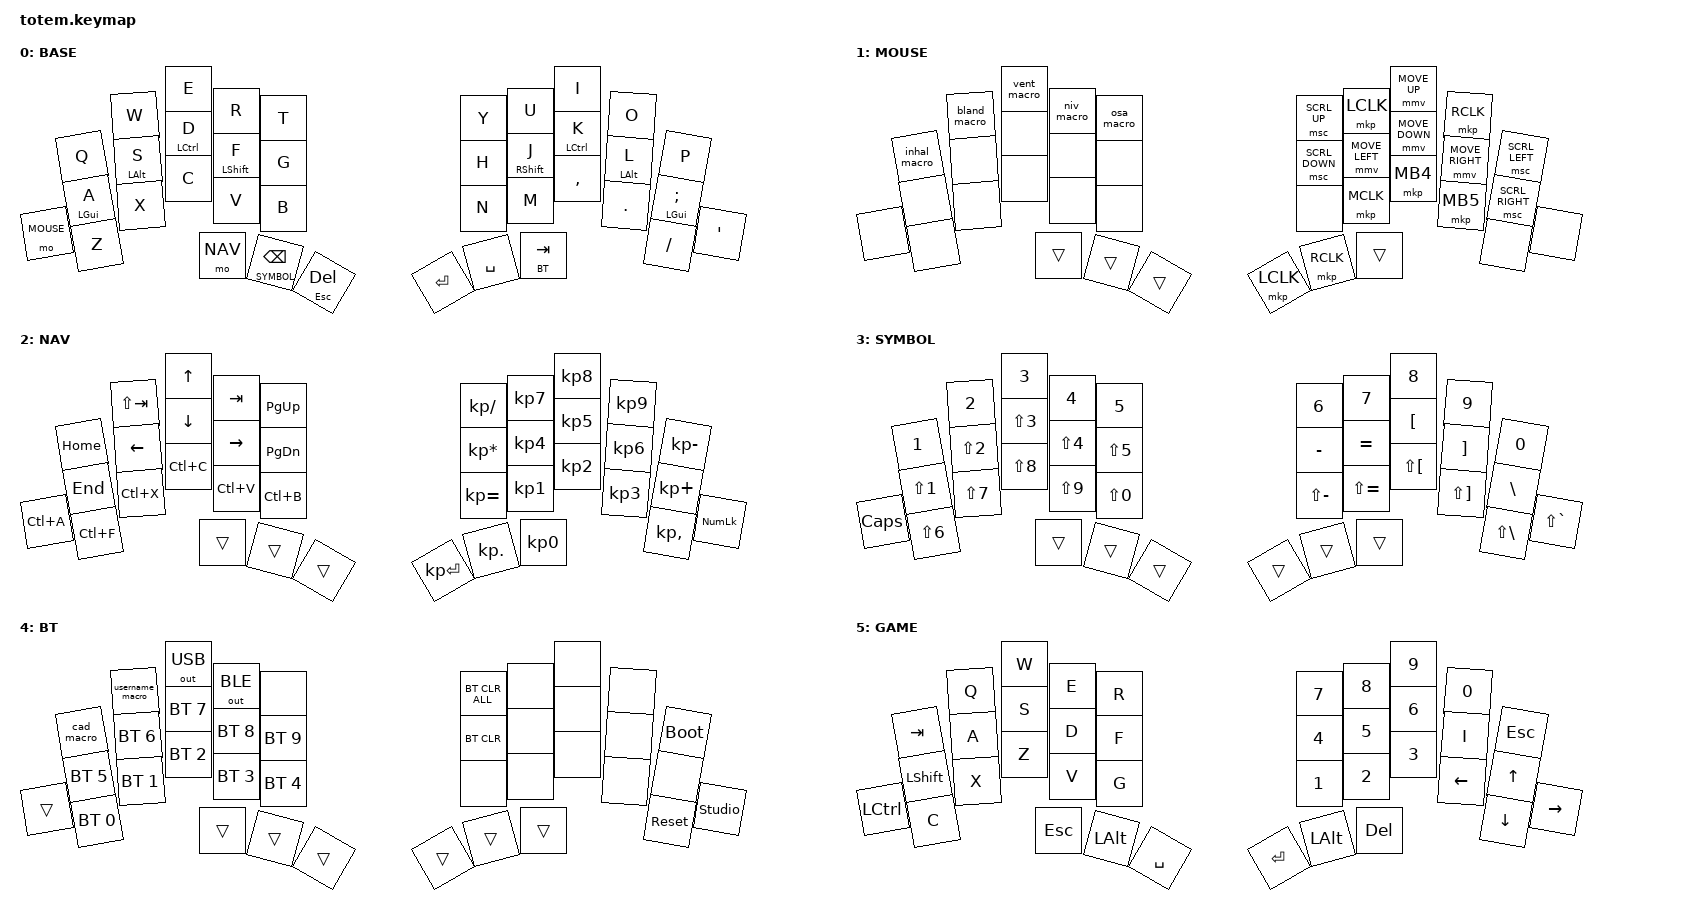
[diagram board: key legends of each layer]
//
// TOTEM #3 Bluetooth
// Translated from "Geist Totem WIred.vil" while retaining the wireless
// build's Bluetooth profile and maintenance controls.
//

#include <behaviors.dtsi>
#include <dt-bindings/zmk/bt.h>
#include <dt-bindings/zmk/keys.h>
#include <dt-bindings/zmk/outputs.h>

#define ZMK_POINTING_DEFAULT_MOVE_VAL 1000
#define ZMK_POINTING_DEFAULT_SCRL_VAL 15
#include <dt-bindings/zmk/pointing.h>

#define BASE 0
#define MOUSE 1
#define NAV 2
#define SYMBOL 3
#define BT 4
#define GAME 5

/* Match the 170 ms tap-dance timing used by the wired Vial keymap. */
&mt {
    quick-tap-ms = <100>;
    global-quick-tap;
    flavor = "tap-preferred";
    tapping-term-ms = <170>;
};

&lt {
    quick-tap-ms = <100>;
    flavor = "tap-preferred";
    tapping-term-ms = <170>;
};

/ {
    behaviors {
        hml: homerow_mod_left {
            compatible = "zmk,behavior-hold-tap";
            label = "HML";
            #binding-cells = <2>;
            flavor = "balanced";
            tapping-term-ms = <280>;
            quick-tap-ms = <175>;
            require-prior-idle-ms = <150>;
            bindings = <&kp>, <&kp>;
        };

        hmr: homerow_mod_right {
            compatible = "zmk,behavior-hold-tap";
            label = "HMR";
            #binding-cells = <2>;
            flavor = "balanced";
            tapping-term-ms = <280>;
            quick-tap-ms = <175>;
            require-prior-idle-ms = <150>;
            bindings = <&kp>, <&kp>;
        };
    };

    combos {
    compatible = "zmk,combos";

    /* Q + W types username macro. */
    combo_username {
        timeout-ms = <50>;
        key-positions = <0 1>;
        bindings = <&username_macro>;
    };

    /* A + S + D + F toggles GAME layer on/off. */
    combo_game_toggle {
        timeout-ms = <120>;
        key-positions = <10 11 12 13>;
        layers = <BASE GAME>;
        bindings = <&tog GAME>;
    };
};

    macros {
        username_macro: username_macro {
            label = "11.Yojimbo";
            compatible = "zmk,behavior-macro";
            #binding-cells = <0>;
            wait-ms = <40>;
            tap-ms = <40>;
            bindings = <&kp N1 &kp N1 &kp DOT &kp LS(Y) &kp O &kp J &kp I &kp M &kp B &kp O>;
        };

        inhal_macro: inhal_macro {
            label = "inhal";
            compatible = "zmk,behavior-macro";
            #binding-cells = <0>;
            wait-ms = <40>;
            tap-ms = <40>;
            bindings = <&kp I &kp N &kp H &kp A &kp L>;
        };

        bland_macro: bland_macro {
            label = "bland";
            compatible = "zmk,behavior-macro";
            #binding-cells = <0>;
            wait-ms = <40>;
            tap-ms = <40>;
            bindings = <&kp B &kp L &kp A &kp N &kp D>;
        };

        vent_macro: vent_macro {
            label = "vent";
            compatible = "zmk,behavior-macro";
            #binding-cells = <0>;
            wait-ms = <40>;
            tap-ms = <40>;
            bindings = <&kp V &kp E &kp N &kp T>;
        };

        niv_macro: niv_macro {
            label = "niv";
            compatible = "zmk,behavior-macro";
            #binding-cells = <0>;
            wait-ms = <40>;
            tap-ms = <40>;
            bindings = <&kp N &kp I &kp V>;
        };

        osa_macro: osa_macro {
            label = "osa";
            compatible = "zmk,behavior-macro";
            #binding-cells = <0>;
            wait-ms = <40>;
            tap-ms = <40>;
            bindings = <&kp O &kp S &kp A>;
        };

        cad_macro: cad_macro {
            label = "Ctrl Alt Delete";
            compatible = "zmk,behavior-macro";
            #binding-cells = <0>;
            bindings =
                <&macro_press &kp LCTRL &kp LALT>,
                <&macro_tap &kp DEL>,
                <&macro_release &kp LCTRL &kp LALT>;
        };
    };

    keymap {
        compatible = "zmk,keymap";

        base_layer {
            label = "BASE";

            //             ┏━━━━━━━━━━━┳━━━━━━━━━━━┳━━━━━━━━━━━┳━━━━━━━━━━━┳━━━━━━━━━━━┓   ┏━━━━━━━━━━━┳━━━━━━━━━━━┳━━━━━━━━━━━┳━━━━━━━━━━━┳━━━━━━━━━━━┓
            //             ┃     Q     ┃     W     ┃     E     ┃     R     ┃     T     ┃   ┃     Y     ┃     U     ┃     I     ┃     O     ┃     P     ┃
            //             ┣━━━━━━━━━━━╋━━━━━━━━━━━╋━━━━━━━━━━━╋━━━━━━━━━━━╋━━━━━━━━━━━┫   ┣━━━━━━━━━━━╋━━━━━━━━━━━╋━━━━━━━━━━━╋━━━━━━━━━━━╋━━━━━━━━━━━┫
            //             ┃   A/GUI   ┃   S/ALT   ┃  D/CTRL   ┃  F/SHIFT  ┃     G     ┃   ┃     H     ┃  J/SHIFT  ┃  K/CTRL   ┃   L/ALT   ┃   ;/GUI   ┃
            // ┏━━━━━━━━━━━╋━━━━━━━━━━━╋━━━━━━━━━━━╋━━━━━━━━━━━╋━━━━━━━━━━━╋━━━━━━━━━━━┫   ┣━━━━━━━━━━━╋━━━━━━━━━━━╋━━━━━━━━━━━╋━━━━━━━━━━━╋━━━━━━━━━━━╋━━━━━━━━━━━┓
            // ┃   MOUSE   ┃     Z     ┃     X     ┃     C     ┃     V     ┃     B     ┃   ┃     N     ┃     M     ┃     ,     ┃     .     ┃     /     ┃     '     ┃
            // ┗━━━━━━━━━━━┻━━━━━━━━━━━┻━━━━━━━━━━━╋━━━━━━━━━━━╋━━━━━━━━━━━╋━━━━━━━━━━━┫   ┣━━━━━━━━━━━╋━━━━━━━━━━━╋━━━━━━━━━━━┻━━━━━━━━━━━┻━━━━━━━━━━━┻━━━━━━━━━━━┛
            //                                     ┃    NAV    ┃BSPC/SYMBOL┃ DEL/ESC   ┃   ┃   ENTER   ┃   SPACE   ┃  TAB/BT   ┃
            //                                     ┗━━━━━━━━━━━┻━━━━━━━━━━━┻━━━━━━━━━━━┛   ┗━━━━━━━━━━━┻━━━━━━━━━━━┻━━━━━━━━━━━┛

            bindings = <
                       &kp Q        &kp W        &kp E        &kp R        &kp T          &kp Y       &kp U         &kp I         &kp O        &kp P
                       &hml LGUI A  &hml LALT S  &hml LCTRL D &hml LSHIFT F &kp G          &kp H       &hmr RSHIFT J &hmr LCTRL K  &hmr LALT L &hmr LGUI SEMI
            &mo MOUSE  &kp Z        &kp X        &kp C        &kp V        &kp B          &kp N       &kp M         &kp COMMA     &kp DOT      &kp SLASH     &kp APOS
                                    &mo NAV      &lt SYMBOL BACKSPACE     &mt ESC DEL     &kp ENTER   &kp SPACE     &lt BT TAB
            >;
        };

        mouse_layer {
            label = "MOUSE";

            bindings = <
                &inhal_macro  &bland_macro  &vent_macro  &niv_macro  &osa_macro    &msc SCRL_UP    &mkp LCLK       &mmv MOVE_UP    &mkp RCLK        &msc SCRL_LEFT
                &none         &none         &none        &none       &none         &msc SCRL_DOWN  &mmv MOVE_LEFT  &mmv MOVE_DOWN  &mmv MOVE_RIGHT  &msc SCRL_RIGHT
                &none         &none         &none        &none       &none         &none          &none           &mkp MCLK       &mkp MB4         &mkp MB5         &none  &none
                                            &trans       &trans      &trans         &mkp LCLK      &mkp RCLK       &trans
            >;
        };

        nav_layer {
            label = "NAV";

            bindings = <
                         &kp HOME       &kp LS(TAB)  &kp UP     &kp TAB    &kp PG_UP       &kp KP_DIVIDE    &kp KP_N7  &kp KP_N8  &kp KP_N9  &kp KP_MINUS
                         &kp END        &kp LEFT     &kp DOWN   &kp RIGHT  &kp PG_DN       &kp KP_MULTIPLY  &kp KP_N4  &kp KP_N5  &kp KP_N6  &kp KP_PLUS
            &kp LC(A)    &kp LC(F)      &kp LC(X)   &kp LC(C)  &kp LC(V)  &kp LC(B)       &kp KP_EQUAL     &kp KP_N1  &kp KP_N2  &kp KP_N3  &kp KP_COMMA  &kp KP_NUMLOCK
                                        &trans      &trans     &trans                  &kp KP_ENTER     &kp KP_DOT &kp KP_N0
            >;
        };

        symbol_layer {
            label = "SYMBOL";

            bindings = <
                             &kp N1      &kp N2      &kp N3      &kp N4      &kp N5        &kp N6       &kp N7       &kp N8       &kp N9       &kp N0
                             &kp LS(N1)  &kp LS(N2)  &kp LS(N3)  &kp LS(N4)  &kp LS(N5)    &kp MINUS    &kp EQUAL    &kp LBKT     &kp RBKT     &kp BSLH
            &kp CAPSLOCK    &kp LS(N6)  &kp LS(N7)  &kp LS(N8)  &kp LS(N9)  &kp LS(N0)    &kp LS(MINUS) &kp LS(EQUAL) &kp LS(LBKT) &kp LS(RBKT) &kp LS(BSLH) &kp LS(GRAVE)
                                          &trans      &trans      &trans                 &trans         &trans         &trans
            >;
        };

        bt_layer {
            label = "BT";

            // All ten selectors remain on the left half:
            // Z-X-C-V-B = BT1-BT5; A-S-D-F-G = BT6-BT10.
            // Y clears all profiles; H clears the current profile.
            bindings = <
                &cad_macro   &username_macro  &out OUT_USB  &out OUT_BLE  &none          &bt BT_CLR_ALL  &none   &none   &none   &bootloader
                &bt BT_SEL 5 &bt BT_SEL 6     &bt BT_SEL 7  &bt BT_SEL 8 &bt BT_SEL 9   &bt BT_CLR      &none   &none   &none   &none
                &trans       &bt BT_SEL 0     &bt BT_SEL 1  &bt BT_SEL 2 &bt BT_SEL 3   &bt BT_SEL 4    &none   &none   &none   &none   &sys_reset  &studio_unlock
                                              &trans         &trans       &trans          &trans          &trans  &trans
            >;
        };
        game_layer {
    label = "GAME";

    bindings = <
        &kp TAB     &kp Q      &kp W      &kp E      &kp R
        &kp N7      &kp N8     &kp N9     &kp N0     &kp ESC

        &kp LSHIFT  &kp A      &kp S      &kp D      &kp F
        &kp N4      &kp N5     &kp N6     &kp I      &kp UP

        &kp LCTRL   &kp C      &kp X      &kp Z      &kp V      &kp G
        &kp N1      &kp N2     &kp N3     &kp LEFT   &kp DOWN   &kp RIGHT

        &kp ESC     &kp LALT   &kp SPACE
        &kp ENTER   &kp LALT   &kp DEL
    >;
};
    };
};
